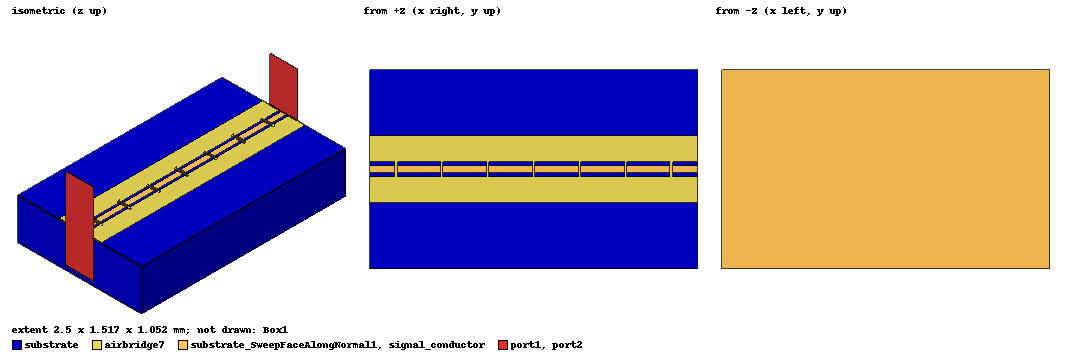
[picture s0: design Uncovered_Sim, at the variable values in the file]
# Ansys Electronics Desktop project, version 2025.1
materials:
  air: permittivity=1.0006 permeability=1.0000004
  gold: permeability=0.99996 conductivity=41000000
  pec: conductivity=1e+30
  sapphire: permittivity=9.4 dielectric_loss_tangent=2e-05
  vacuum: permittivity=1

design Uncovered_Sim (HFSS, HFSS Terminal Network, model units mm)
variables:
  subx = 2500um
  suby = s + 2*(g+gnd_width) + 1000um
  subz = 500um
  s = 60um
  g = 28.5um
  gnd_width = 200um
  Tmet = 2um
  air_box_h = subz + 15000um
  porty = 3*(2*g+s)
  portz = 2*subz
  airx = subx
  airy = s + 2*(g+gnd_width) +15000um
  abpillarx = 20um
  abpillary = 20um
  abpillarz = 4um
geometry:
  substrate [sapphire] = box(corner=(-subx/2, -suby/2, 0mm), size=(subx, suby, subz))
  signal_dummy [vacuum, non-model] = substrate.section(plane=ZX)
  signal_dummy.thicken(s, both sides)
  gap_dummy1 [vacuum, non-model] = sweep_along_normal(signal_dummy.face(at (0, -0.03, 0.25)), length=g)
  gap_dummy2 [vacuum, non-model] = sweep_along_normal(signal_dummy.face(at (0, 0.03, 0.25)), length=g)
  gnd_dummy1 [vacuum, non-model] = sweep_along_normal(gap_dummy1.face(at (0, -0.0585, 0.25)), length=gnd_width)
  gnd_dummy2 [vacuum, non-model] = sweep_along_normal(gap_dummy2.face(at (0, 0.0585, 0.25)), length=gnd_width)
  signal_conductor [gold] = sweep_along_normal(signal_dummy.face(at (0, 0, 0.5)), length=Tmet)
  gnd_cond_1 = sweep_along_normal(gnd_dummy1.face(at (0, -0.1585, 0.5)), length=Tmet)
  gnd_cond_2 = sweep_along_normal(gnd_dummy2.face(at (0, 0.1585, 0.5)), length=Tmet)
  port1 = rectangle(corner=(subx/2, -porty/2, 50um), y_size=porty, z_size=portz)
  port2 = rectangle(corner=(-subx/2, -porty/2, 50um), y_size=porty, z_size=portz)
  Box1 [air] = box(corner=(-airx/2, -airy/2, -air_box_h/2), size=(airx, airy, air_box_h))
  airbridge2 = box(corner=(2mm, 0mm, 0mm), size=(abpillarx, abpillary, abpillarz))
  Box3 = box(corner=(2mm+abpillarx +2*g+s, 0mm, 0mm), size=(abpillarx, abpillary, abpillarz))
  Box4 = box(corner=(2mm, 0.02mm -abpillary, 0.004mm), size=(2*abpillarx +2*g+s, abpillary, 2um))
  airbridge2.unite(Box3, Box4)
  airbridge2.move(-2mm, 0mm, subz+Tmet)
  airbridge2.rotate(axis=Z, angle=90deg)
  airbridge2.move(0.01mm, -0.0785mm, 0mm)
  airbridge3 = box(corner=(2mm, 0mm, 0mm), size=(abpillarx, abpillary, abpillarz))
  Box6 = box(corner=(2mm+abpillarx +2*g+s, 0mm, 0mm), size=(abpillarx, abpillary, abpillarz))
  Box7 = box(corner=(2mm, 0.02mm -abpillary, 0.004mm), size=(2*abpillarx +2*g+s, abpillary, 2um))
  airbridge3.unite(Box6, Box7)
  airbridge3.move(-2mm, 0mm, subz+Tmet)
  airbridge3.rotate(axis=Z, angle=90deg)
  airbridge3.move(0.01mm, -0.0785mm, 0mm)
  airbridge1 = box(corner=(2mm, 0mm, 0mm), size=(abpillarx, abpillary, abpillarz))
  Box9 = box(corner=(2mm+abpillarx +2*g+s, 0mm, 0mm), size=(abpillarx, abpillary, abpillarz))
  Box10 = box(corner=(2mm, 0.02mm -abpillary, 0.004mm), size=(2*abpillarx +2*g+s, abpillary, 2um))
  airbridge1.unite(Box9, Box10)
  airbridge1.move(-2mm, 0mm, subz+Tmet)
  airbridge1.rotate(axis=Z, angle=90deg)
  airbridge1.move(0.01mm, -0.0785mm, 0mm)
  airbridge1.move(-350um, 0mm, 0mm)
  airbridge3.move(350um, 0mm, 0mm)
  airbridge2.unite(gnd_cond_2, gnd_cond_1)
  airbridge1.unite(airbridge2, airbridge3)
  airbridge4 = box(corner=(2mm, 0mm, 0mm), size=(abpillarx, abpillary, abpillarz))
  Box11 = box(corner=(2mm+abpillarx +2*g+s, 0mm, 0mm), size=(abpillarx, abpillary, abpillarz))
  Box12 = box(corner=(2mm, 0.02mm -abpillary, 0.004mm), size=(2*abpillarx +2*g+s, abpillary, 2um))
  airbridge4.unite(Box11, Box12)
  airbridge4.move(-2mm, 0mm, subz+Tmet)
  airbridge4.rotate(axis=Z, angle=90deg)
  airbridge4.move(0.01mm, -0.0785mm, 0mm)
  airbridge5 = box(corner=(2mm, 0mm, 0mm), size=(abpillarx, abpillary, abpillarz))
  Box13 = box(corner=(2mm+abpillarx +2*g+s, 0mm, 0mm), size=(abpillarx, abpillary, abpillarz))
  Box14 = box(corner=(2mm, 0.02mm -abpillary, 0.004mm), size=(2*abpillarx +2*g+s, abpillary, 2um))
  airbridge5.unite(Box13, Box14)
  airbridge5.move(-2mm, 0mm, subz+Tmet)
  airbridge5.rotate(axis=Z, angle=90deg)
  airbridge5.move(0.01mm, -0.0785mm, 0mm)
  airbridge4.move(-700um, 0mm, 0mm)
  airbridge5.move(700um, 0mm, 0mm)
  airbridge6 = box(corner=(2mm, 0mm, 0mm), size=(abpillarx, abpillary, abpillarz))
  Box15 = box(corner=(2mm+abpillarx +2*g+s, 0mm, 0mm), size=(abpillarx, abpillary, abpillarz))
  Box16 = box(corner=(2mm, 0.02mm -abpillary, 0.004mm), size=(2*abpillarx +2*g+s, abpillary, 2um))
  airbridge6.unite(Box15, Box16)
  airbridge6.move(-2mm, 0mm, subz+Tmet)
  airbridge6.rotate(axis=Z, angle=90deg)
  airbridge6.move(0.01mm, -0.0785mm, 0mm)
  airbridge6.move(-1050um, 0mm, 0mm)
  airbridge7 [gold] = box(corner=(2mm, 0mm, 0mm), size=(abpillarx, abpillary, abpillarz))
  Box17 = box(corner=(2mm+abpillarx +2*g+s, 0mm, 0mm), size=(abpillarx, abpillary, abpillarz))
  Box18 = box(corner=(2mm, 0.02mm -abpillary, 0.004mm), size=(2*abpillarx +2*g+s, abpillary, 2um))
  airbridge7.unite(Box17, Box18)
  airbridge7.move(-2mm, 0mm, subz+Tmet)
  airbridge7.rotate(axis=Z, angle=90deg)
  airbridge7.move(0.01mm, -0.0785mm, 0mm)
  airbridge7.move(1050um, 0mm, 0mm)
  airbridge7.unite(airbridge6, airbridge5, airbridge4, airbridge1)
  substrate_SweepFaceAlongNormal1 [gold] = sweep_along_normal(substrate.face(-z), length=2um)
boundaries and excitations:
  Rad1: Radiation Faces=Box1.face(-y, +z, -z, +y)
  Rad2: Radiation Faces=Box1.face(+x, -x)
  PerfE1: Perfect E Faces=substrate_SweepFaceAlongNormal1.face(at (0, 0, -0.002))
  1: Wave Port Objects=port1 WavePortType=Modal NumModes=1 Modes{Mode1{IntLine{(1.25, 0.03, 0.502) -> (1.25, 0.0585, 0.502)} CharImp=Zpv RenormImp=50ohm}}
  2: Wave Port Objects=port2 WavePortType=Modal NumModes=1 Modes{Mode1{IntLine{(-1.25, 0.03, 0.502) -> (-1.25, 0.0585, 0.502)} CharImp=Zpv RenormImp=50ohm}}
  reference conductors: gnd_cond_1, gnd_cond_2
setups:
  broadband: HfssDriven MultipleAdaptiveFreqsSetup{Low=10GHz High=40GHz} MaxDeltaS=0.02 MaximumPasses=12 MinimumPasses=1 MinimumConvergedPasses=1 PercentRefinement=30 BasisOrder=1 PortAccuracy=0.1 UseABCOnPort DrivenSolverType="Direct Solver"
    sweep Sweep: 5GHz to 50GHz, 1801 points; Type=Fast
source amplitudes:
  1:1: 1V 0deg
  2:1: 0V 0deg
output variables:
  Zo = 50*(1 + re(St(signal_conductor_T1,signal_conductor_T1)))/(1-re(St(signal_conductor_T1,signal_conductor_T1)))
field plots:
  Mag_E1: E Field in Box1, substrate on broadband : LastAdaptive at Freq=25GHz Phase=90deg
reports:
  Terminal S Parameter Plot1: dB(St(1,1)) vs Freq on broadband : Sweep; markers m1 at 27GHz, m2 at 40GHz
  Terminal S Parameter Plot2: dB(St(1,2)) vs Freq on broadband : Sweep; markers m1 at 27GHz, m2 at 40GHz
  Terminal S Parameter Chart1: St(1,1) on broadband : Sweep [Freq=all]
  Terminal S Parameter Chart2: St(1,2) on broadband : Sweep [Freq=all]
  Terminal Port Zo Plot1: re(Zot(1,1)) vs Freq on broadband : Sweep; markers MX1 at x=3.35e+10, MX2 at x=2.7e+10, MX3 at x=4e+10
